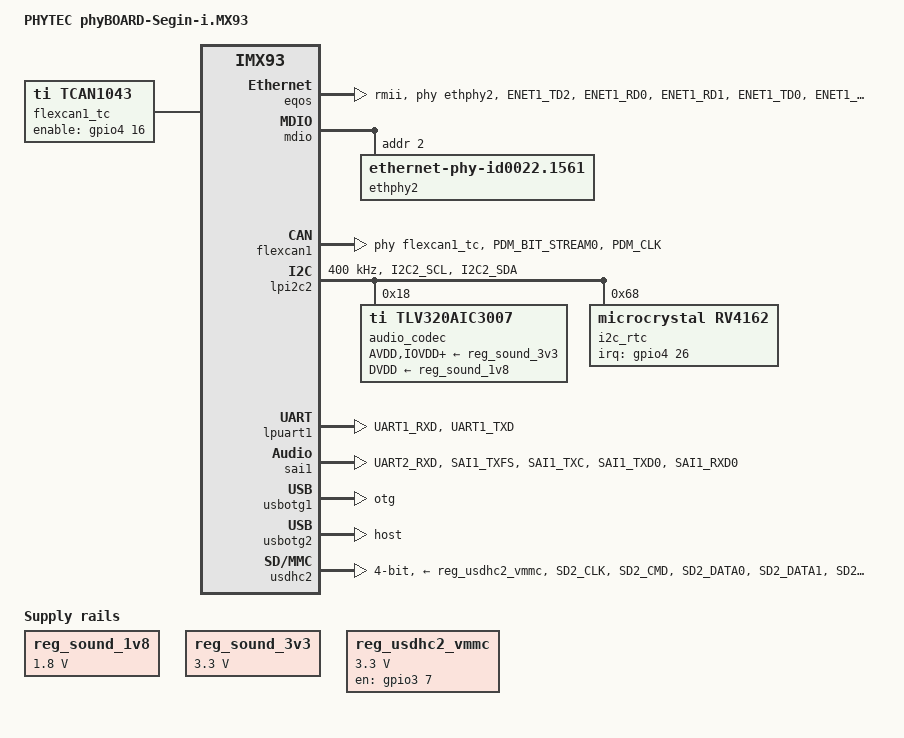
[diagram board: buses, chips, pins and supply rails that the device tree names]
// SPDX-License-Identifier: (GPL-2.0+ OR MIT)
/*
 * Copyright (C) 2023 PHYTEC Messtechnik GmbH
 * Author: Wadim Egorov <w.egorov@phytec.de>, Christoph Stoidner <c.stoidner@phytec.de>
 * Copyright (C) 2024 Mathieu Othacehe <m.othacehe@gmail.com>
 *
 * Product homepage:
 * phyBOARD-Segin carrier board is reused for the i.MX93 design.
 * https://www.phytec.eu/en/produkte/single-board-computer/phyboard-segin-imx6ul/
 */
/dts-v1/;

#include "imx93-phycore-som.dtsi"

/{
	model = "PHYTEC phyBOARD-Segin-i.MX93";
	compatible = "phytec,imx93-phyboard-segin", "phytec,imx93-phycore-som",
		     "fsl,imx93";

	aliases {
		ethernet1 = &eqos;
		gpio0 = &gpio1;
		gpio1 = &gpio2;
		gpio2 = &gpio3;
		gpio3 = &gpio4;
		i2c0 = &lpi2c1;
		i2c1 = &lpi2c2;
		mmc0 = &usdhc1;
		mmc1 = &usdhc2;
		rtc0 = &i2c_rtc;
		rtc1 = &bbnsm_rtc;
		serial0 = &lpuart1;
	};

	chosen {
		stdout-path = &lpuart1;
	};

	flexcan1_tc: can-phy0 {
		compatible = "ti,tcan1043";
		#phy-cells = <0>;
		max-bitrate = <1000000>;
		pinctrl-names = "default";
		pinctrl-0 = <&pinctrl_flexcan1_tc>;
		enable-gpios = <&gpio4 16 GPIO_ACTIVE_HIGH>;
	};

	reg_sound_1v8: regulator-sound-1v8 {
		compatible = "regulator-fixed";
		regulator-max-microvolt = <1800000>;
		regulator-min-microvolt = <1800000>;
		regulator-name = "VCC1V8_AUDIO";
	};

	reg_sound_3v3: regulator-sound-3v3 {
		compatible = "regulator-fixed";
		regulator-max-microvolt = <3300000>;
		regulator-min-microvolt = <3300000>;
		regulator-name = "VCC3V3_ANALOG";
	};

	reg_usdhc2_vmmc: regulator-usdhc2 {
		compatible = "regulator-fixed";
		enable-active-high;
		gpio = <&gpio3 7 GPIO_ACTIVE_HIGH>;
		pinctrl-names = "default";
		pinctrl-0 = <&pinctrl_reg_usdhc2_vmmc>;
		regulator-min-microvolt = <3300000>;
		regulator-max-microvolt = <3300000>;
		regulator-name = "VCC_SD";
	};

	sound: sound {
		compatible = "simple-audio-card";
		simple-audio-card,name = "phyBOARD-Segin-TLV320AIC3007";
		simple-audio-card,format = "i2s";
		simple-audio-card,bitclock-master = <&dailink_master>;
		simple-audio-card,frame-master = <&dailink_master>;
		simple-audio-card,widgets =
			"Line", "Line In",
			"Line", "Line Out",
			"Speaker", "Speaker";
		simple-audio-card,routing =
			"Line Out", "LLOUT",
			"Line Out", "RLOUT",
			"Speaker", "SPOP",
			"Speaker", "SPOM",
			"LINE1L", "Line In",
			"LINE1R", "Line In";

		simple-audio-card,cpu {
			sound-dai = <&sai1>;
		};

		dailink_master: simple-audio-card,codec {
			sound-dai = <&audio_codec>;
			clocks = <&clk IMX93_CLK_SAI1>;
		};
	};
};

/* Ethernet */
&eqos {
	pinctrl-names = "default";
	pinctrl-0 = <&pinctrl_eqos>;
	phy-mode = "rmii";
	phy-handle = <&ethphy2>;
	assigned-clock-parents = <&clk IMX93_CLK_SYS_PLL_PFD1_DIV2>,
				 <&clk IMX93_CLK_SYS_PLL_PFD1_DIV2>;
	assigned-clock-rates = <100000000>, <50000000>;
	status = "okay";
};

&mdio {
	ethphy2: ethernet-phy@2 {
		compatible = "ethernet-phy-id0022.1561";
		reg = <2>;
		clocks = <&clk IMX93_CLK_ENET_REF_PHY>;
		clock-names = "rmii-ref";
		micrel,led-mode = <1>;
	};
};

/* CAN */
&flexcan1 {
	pinctrl-names = "default";
	pinctrl-0 = <&pinctrl_flexcan1>;
	phys = <&flexcan1_tc>;
	status = "okay";
};

/* I2C2 */
&lpi2c2 {
	clock-frequency = <400000>;
	pinctrl-names = "default";
	pinctrl-0 = <&pinctrl_lpi2c2>;
	status = "okay";

	/* Codec */
	audio_codec: audio-codec@18 {
		compatible = "ti,tlv320aic3007";
		reg = <0x18>;
		#sound-dai-cells = <0>;
		AVDD-supply = <&reg_sound_3v3>;
		IOVDD-supply = <&reg_sound_3v3>;
		DRVDD-supply = <&reg_sound_3v3>;
		DVDD-supply = <&reg_sound_1v8>;
	};

	/* RTC */
	i2c_rtc: rtc@68 {
		compatible = "microcrystal,rv4162";
		reg = <0x68>;
		pinctrl-names = "default";
		pinctrl-0 = <&pinctrl_rtc>;
		interrupt-parent = <&gpio4>;
		interrupts = <26 IRQ_TYPE_LEVEL_LOW>;
	};
};

/* Console */
&lpuart1 {
	pinctrl-names = "default";
	pinctrl-0 = <&pinctrl_uart1>;
	status = "okay";
};

/* Audio */
&sai1 {
	pinctrl-names = "default";
	pinctrl-0 = <&pinctrl_sai1>;
	assigned-clocks = <&clk IMX93_CLK_SAI1>;
	assigned-clock-parents = <&clk IMX93_CLK_AUDIO_PLL>;
	assigned-clock-rates = <19200000>;
	fsl,sai-mclk-direction-output;
	status = "okay";
};

/* USB  */
&usbotg1 {
	disable-over-current;
	dr_mode = "otg";
	status = "okay";
};

&usbotg2 {
	disable-over-current;
	dr_mode = "host";
	status = "okay";
};

/* SD-Card */
&usdhc2 {
	pinctrl-names = "default", "state_100mhz", "state_200mhz";
	pinctrl-0 = <&pinctrl_usdhc2_default>, <&pinctrl_usdhc2_cd>;
	pinctrl-1 = <&pinctrl_usdhc2_100mhz>, <&pinctrl_usdhc2_cd>;
	pinctrl-2 = <&pinctrl_usdhc2_200mhz>, <&pinctrl_usdhc2_cd>;
	bus-width = <4>;
	cd-gpios = <&gpio3 0 GPIO_ACTIVE_LOW>;
	disable-wp;
	no-mmc;
	no-sdio;
	vmmc-supply = <&reg_usdhc2_vmmc>;
	status = "okay";
};

&iomuxc {
	pinctrl_eqos: eqosgrp {
		fsl,pins = <
			MX93_PAD_ENET1_TD2__CCM_ENET_QOS_CLOCK_GENERATE_REF_CLK	0x4000050e
			MX93_PAD_ENET1_RD0__ENET_QOS_RGMII_RD0		0x57e
			MX93_PAD_ENET1_RD1__ENET_QOS_RGMII_RD1		0x57e
			MX93_PAD_ENET1_TD0__ENET_QOS_RGMII_TD0		0x50e
			MX93_PAD_ENET1_TD1__ENET_QOS_RGMII_TD1		0x50e
			MX93_PAD_ENET1_RX_CTL__ENET_QOS_RGMII_RX_CTL	0x57e
			MX93_PAD_ENET1_TX_CTL__ENET_QOS_RGMII_TX_CTL	0x50e
			MX93_PAD_ENET1_RXC__ENET_QOS_RX_ER		0x57e
		>;
	};

	pinctrl_flexcan1: flexcan1grp {
		fsl,pins = <
			MX93_PAD_PDM_BIT_STREAM0__CAN1_RX	0x139e
			MX93_PAD_PDM_CLK__CAN1_TX		0x139e
		>;
	};

	pinctrl_flexcan1_tc: flexcan1tcgrp {
		fsl,pins = <
			MX93_PAD_ENET2_TD3__GPIO4_IO16		0x31e
		>;
	};

	pinctrl_lpi2c2: lpi2c2grp {
		fsl,pins = <
			MX93_PAD_I2C2_SCL__LPI2C2_SCL		0x40000b9e
			MX93_PAD_I2C2_SDA__LPI2C2_SDA		0x40000b9e
		>;
	};

	pinctrl_reg_usdhc2_vmmc: regusdhc2vmmcgrp {
		fsl,pins = <
			MX93_PAD_SD2_RESET_B__GPIO3_IO07	0x31e
		>;
	};

	pinctrl_rtc: rtcgrp {
		fsl,pins = <
			MX93_PAD_ENET2_RD2__GPIO4_IO26		0x31e
		>;
	};

	pinctrl_sai1: sai1grp {
		fsl,pins = <
			MX93_PAD_UART2_RXD__SAI1_MCLK		0x1202
			MX93_PAD_SAI1_TXFS__SAI1_TX_SYNC	0x1202
			MX93_PAD_SAI1_TXC__SAI1_TX_BCLK		0x1202
			MX93_PAD_SAI1_TXD0__SAI1_TX_DATA00	0x1402
			MX93_PAD_SAI1_RXD0__SAI1_RX_DATA00	0x1402
		>;
	};

	pinctrl_uart1: uart1grp {
		fsl,pins = <
			MX93_PAD_UART1_RXD__LPUART1_RX		0x31e
			MX93_PAD_UART1_TXD__LPUART1_TX		0x30e
		>;
	};

	pinctrl_usdhc2_cd: usdhc2cdgrp {
		fsl,pins = <
			MX93_PAD_SD2_CD_B__GPIO3_IO00		0x31e
		>;
	};

	/* need to config the SION for data and cmd pad, refer to ERR052021 */
	pinctrl_usdhc2_default: usdhc2grp {
		fsl,pins = <
			MX93_PAD_SD2_CLK__USDHC2_CLK		0x159e
			MX93_PAD_SD2_CMD__USDHC2_CMD		0x4000139e
			MX93_PAD_SD2_DATA0__USDHC2_DATA0	0x4000138e
			MX93_PAD_SD2_DATA1__USDHC2_DATA1	0x4000138e
			MX93_PAD_SD2_DATA2__USDHC2_DATA2	0x4000138e
			MX93_PAD_SD2_DATA3__USDHC2_DATA3	0x4000139e
			MX93_PAD_SD2_VSELECT__USDHC2_VSELECT	0x51e
		>;
	};

	/* need to config the SION for data and cmd pad, refer to ERR052021 */
	pinctrl_usdhc2_100mhz: usdhc2-100mhzgrp {
		fsl,pins = <
			MX93_PAD_SD2_CLK__USDHC2_CLK		0x159e
			MX93_PAD_SD2_CMD__USDHC2_CMD		0x4000139e
			MX93_PAD_SD2_DATA0__USDHC2_DATA0	0x4000138e
			MX93_PAD_SD2_DATA1__USDHC2_DATA1	0x4000138e
			MX93_PAD_SD2_DATA2__USDHC2_DATA2	0x4000139e
			MX93_PAD_SD2_DATA3__USDHC2_DATA3	0x4000139e
			MX93_PAD_SD2_VSELECT__USDHC2_VSELECT	0x51e
		>;
	};

	/* need to config the SION for data and cmd pad, refer to ERR052021 */
	pinctrl_usdhc2_200mhz: usdhc2-200mhzgrp {
		fsl,pins = <
			MX93_PAD_SD2_CLK__USDHC2_CLK		0x158e
			MX93_PAD_SD2_CMD__USDHC2_CMD		0x4000139e
			MX93_PAD_SD2_DATA0__USDHC2_DATA0	0x4000139e
			MX93_PAD_SD2_DATA1__USDHC2_DATA1	0x4000139e
			MX93_PAD_SD2_DATA2__USDHC2_DATA2	0x4000139e
			MX93_PAD_SD2_DATA3__USDHC2_DATA3	0x4000139e
			MX93_PAD_SD2_VSELECT__USDHC2_VSELECT	0x51e
		>;
	};
};
